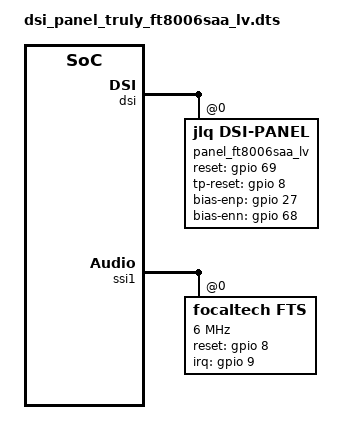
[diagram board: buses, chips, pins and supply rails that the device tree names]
// SPDX-License-Identifier: GPL-2.0+
/dts-v1/;
/plugin/;
#include <dt-bindings/pinctrl/jlq_pinctrl.h>
/ {
	jlq,panel-id   = <4 0>;
};

&dsi {
	panel_ft8006saa_lv: ft8006saa_lv {
		compatible = "jlq,dsi-panel";
		reg = <0>;
		panel_name = "xiaomi C3QP 43 03 0b hd+ video dsi panel";
		status = "okay";
		inited = "true";

		pinctrl-names = "panel_active", "panel_suspend";
		pinctrl-0 = <&lcd_reset_active
			&lcd_bias_enp_active
			&lcd_bias_enn_active>;
		pinctrl-1 = <&lcd_reset_suspend
			&lcd_bias_enp_suspend
			&lcd_bias_enn_suspend>;

		reset-gpio = <&gpio 69 0>;
		tp-reset-gpio = <&gpio 8 0>;
		reset-sequence = <1 10 0 20 1 10>;
		reset-gpio-keep-high;
		bias-enp-gpio = <&gpio 27 0>;
		bias-enn-gpio = <&gpio 68 0>;

		dsi,lanes = <4>;
		dsi,channel = <0>;
		dsi,flags = <0x24400803>;
		dsi,format = <0>;

		init-delay-ms = <35>;
		prepare-delay-ms = <0>;
		enable-delay-ms = <2>;
		unprepare-delay-ms = <0>;
		disable-delay-ms = <2>;
		reset-delay-ms = <10>;
		width-mm = <68>;
		height-mm = <156>;
		backlight-type = <1>;
		backlight-max-level = <2047>;
		ic-vendor = <2>;
		cabc-support;
		hbm-support;
		hbm-percent = <80>;
                esd-check-mode = "reg_read";
                esd-check-period = <6000>;


		hbm-on-sequence = [
			29 00 03 51 FA 0C
		];

		hbm-off-sequence = [
			29 00 03 51 CC 0A
		];

		panel-exit-sequence = [
			05 05 01 28
			05 96 01 10
			29 00 02 17 5a
			29 40 02 18 5a
		];

		panel-init-sequence = [
			29 00 03 41 5A 19
			29 00 11 80 E3 D4 C4 B6 AC A3 9C 96 90 8C 88 83 44 74 FB 9F
			29 00 08 90 F9 0F FE EF 9F AF 0F
			29 00 05 A0 00 00 46 00
			05 78 01 11
			05 00 01 29
			29 00 02 51 00
			29 00 02 53 2c
			29 0A 02 55 00
		];

		lockdown-entries {
			#address-cells = <1>;
			#size-cells = <0>;

			lockdown-entry@0 {
				reg = <0>;
				return-packet-size = <8>;
				read-sequence = [
					29 01 03 41 5a 01
					06 01 01 90
				];
			};
		};

		whitepoint-entries {
			#address-cells = <1>;
			#size-cells = <0>;

			whitepoint-entry@0 {
				reg = <0>;
				return-packet-size = <2>;
				read-sequence = [
					29 01 03 41 5a 01
					06 01 01 80
				];
			};
		};

               esd-entries {
                       #address-cells = <1>;
                       #size-cells = <0>;

                       esd-entry@0 {
                               reg = <0>;
                               return-packet-size = <1>;
                               valid-value-array = /bits/ 8 <0x9c>;
                               read-sequence = [
                                       06 01 01 0a
                               ];
                       };
               };

		display-timings {
			native-mode = <&ft8006saa_lv_timing>;
			ft8006saa_lv_timing: timing0 {
				clock-frequency = <90000000>;
				hactive = <720>;
				vactive = <1650>;
				hfront-porch = <26>;
				hsync-len = <16>;
				hback-porch = <25>;
				vfront-porch = <135>;
				vsync-len = <10>;
				vback-porch = <110>;
				hsync-active = <1>;
				vsync-active = <1>;
			};
		};
	};
};


&ssi1 {
	focaltech@0 {
		compatible = "focaltech,fts";
		reg = <0x0>;
		status = "okay";
		panel = <&panel_ft8006saa_lv>;
		spi-max-frequency = <6000000>;
		interrupt-parent = <&gpio>;
		interrupts = <9 2>;
		focaltech,reset-gpio = <&gpio 8 0>;
		focaltech,irq-gpio = <&gpio 9 0>;
		focaltech,longv-mode = <0x1>;
		focaltech,max-touch-number = <10>;
		focaltech,display-coords =  <0 0 719 1649>;
                usb-dev-extcons = "4-006b", "4-003b";
	};
};
